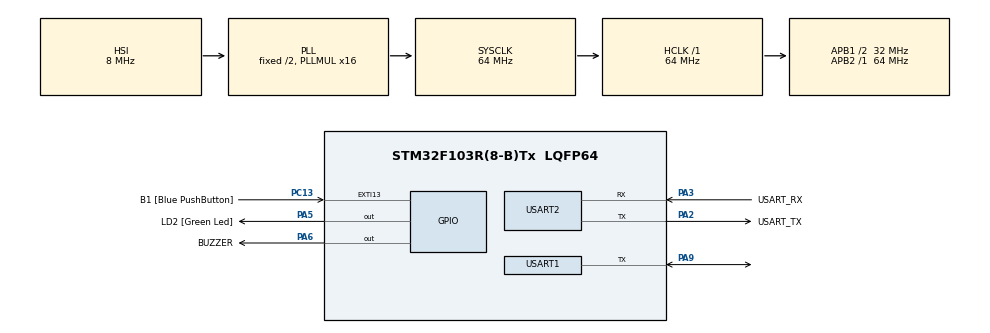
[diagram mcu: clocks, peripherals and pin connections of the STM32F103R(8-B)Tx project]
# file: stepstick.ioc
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FREERTOS.Tasks01=defaultTask,24,128,StartDefaultTask,Default,NULL,Dynamic,NULL,NULL;task_stepper_mo,8,128,start_task_stepper_motors,As external,NULL,Dynamic,NULL,NULL;task_serial_pri,8,128,start_task_serial_print,As external,NULL,Dynamic,NULL,NULL
FREERTOS.configUSE_NEWLIB_REENTRANT=1
Mcu.Family=STM32F1
Mcu.Name=STM32F103R(8-B)Tx
Mcu.Package=LQFP64
NVIC.EXTI15_10_IRQn=true\:5\:0\:false\:false\:true\:true\:true\:true\:true
NVIC.PriorityGroup=NVIC_PRIORITYGROUP_4
NVIC.TIM1_UP_IRQn=true\:15\:0\:false\:false\:true\:false\:false\:true\:true
NVIC.TimeBase=TIM1_UP_IRQn
NVIC.TimeBaseIP=TIM1
PA13.GPIO_Label=TMS
PA13.Mode=Serial_Wire
PA13.Signal=SYS_JTMS-SWDIO
PA14.GPIO_Label=TCK
PA14.Mode=Serial_Wire
PA14.Signal=SYS_JTCK-SWCLK
PA2.GPIO_Label=USART_TX
PA2.GPIO_Mode=GPIO_MODE_AF_PP
PA2.GPIO_PuPd=GPIO_NOPULL
PA2.GPIO_Speed=GPIO_SPEED_FREQ_LOW
PA2.Mode=Asynchronous
PA2.Signal=USART2_TX
PA3.GPIO_Label=USART_RX
PA3.GPIO_Mode=GPIO_MODE_AF_PP
PA3.GPIO_PuPd=GPIO_NOPULL
PA3.GPIO_Speed=GPIO_SPEED_FREQ_LOW
PA3.Mode=Asynchronous
PA3.Signal=USART2_RX
PA5.GPIO_Label=LD2 [Green Led]
PA5.GPIO_ModeDefaultOutputPP=GPIO_MODE_OUTPUT_PP
PA5.GPIO_PuPd=GPIO_NOPULL
PA5.GPIO_Speed=GPIO_SPEED_FREQ_LOW
PA5.Signal=GPIO_Output
PA6.GPIO_Label=BUZZER
PA6.Signal=GPIO_Output
PA9.Mode=Half_duplex(single_wire_mode)
PA9.Signal=USART1_TX
PB3.GPIO_Label=SWO
PB3.Signal=SYS_JTDO-TRACESWO
PC13-TAMPER-RTC.GPIO_Label=B1 [Blue PushButton]
PC13-TAMPER-RTC.GPIO_PuPd=GPIO_NOPULL
PC13-TAMPER-RTC.Signal=GPXTI13
PC14-OSC32_IN.Mode=LSE-External-Oscillator
PC14-OSC32_IN.Signal=RCC_OSC32_IN
PC15-OSC32_OUT.Mode=LSE-External-Oscillator
PC15-OSC32_OUT.Signal=RCC_OSC32_OUT
PD0-OSC_IN.Mode=HSE-External-Clock-Source
PD0-OSC_IN.Signal=RCC_OSC_IN
PD1-OSC_OUT.Mode=HSE-External-Clock-Source
PD1-OSC_OUT.Signal=RCC_OSC_OUT
ProjectManager.HeapSize=0x200
ProjectManager.StackSize=0x400
ProjectManager.TargetToolchain=STM32CubeIDE
RCC.AHBFreq_Value=64000000
RCC.APB1CLKDivider=RCC_HCLK_DIV2
RCC.APB1Freq_Value=32000000
RCC.APB1TimFreq_Value=64000000
RCC.APB2Freq_Value=64000000
RCC.APB2TimFreq_Value=64000000
RCC.HCLKFreq_Value=64000000
RCC.PLLMUL=RCC_PLL_MUL16
RCC.RTCClockSelection=RCC_RTCCLKSOURCE_LSE
RCC.SYSCLKFreq_VALUE=64000000
RCC.SYSCLKSource=RCC_SYSCLKSOURCE_PLLCLK
RCC.USBFreq_Value=64000000
USART1.BaudRate=9600
USART1.VirtualMode=VM_ASYNC
USART2.VirtualMode=VM_ASYNC
VP_FREERTOS_VS_CMSIS_V2.Mode=CMSIS_V2
VP_SYS_VS_tim1.Mode=TIM1
VP_TIM2_VS_ClockSourceINT.Mode=Internal
board=NUCLEO-F103RB

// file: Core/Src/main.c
/* USER CODE BEGIN Header */
/**
  ******************************************************************************
  * @file           : main.c
  * @brief          : Main program body
  ******************************************************************************
  * @attention
  *
  * Copyright (c) 2023 STMicroelectronics.
  * All rights reserved.
  *
  * This software is licensed under terms that can be found in the LICENSE file
  * in the root directory of this software component.
  * If no LICENSE file comes with this software, it is provided AS-IS.
  *
  ******************************************************************************
  */
/* USER CODE END Header */
#include "main.h"
#include "cmsis_os.h"
#include "tim.h"
#include "usart.h"
#include "gpio.h"

/* USER CODE BEGIN PV */
uint8_t triggered = 0;
uint8_t command_triggered = 0;
//uint16_t trigger_counter = 0;

/* USER CODE END PV */

void SystemClock_Config(void);
void MX_FREERTOS_Init(void);
/* USER CODE BEGIN PFP */
int __io_putchar(int ch)
{
    if (ch == '\n') {
        uint8_t ch2 = '\r';
        HAL_UART_Transmit(&huart2, &ch2, 1, HAL_MAX_DELAY);
    }

    HAL_UART_Transmit(&huart2, (uint8_t*)&ch, 1, HAL_MAX_DELAY);
    return 1;
}
/* USER CODE END PFP */

int main(void)
{

  /* MCU Configuration--------------------------------------------------------*/

  /* Reset of all peripherals, Initializes the Flash interface and the Systick. */
  HAL_Init();

  /* Configure the system clock */
  SystemClock_Config();

  /* Initialize all configured peripherals */
  MX_GPIO_Init();
  MX_USART2_UART_Init();
  MX_USART1_UART_Init();
  MX_TIM2_Init();

  /* Init scheduler */
  osKernelInitialize();

  /* Call init function for freertos objects (in freertos.c) */
  MX_FREERTOS_Init();

  /* Start scheduler */
  osKernelStart();

  /* We should never get here as control is now taken by the scheduler */
  /* Infinite loop */
  while (1)
  {

  }
}

void SystemClock_Config(void)
{
  RCC_OscInitTypeDef RCC_OscInitStruct = {0};
  RCC_ClkInitTypeDef RCC_ClkInitStruct = {0};

  /** Initializes the RCC Oscillators according to the specified parameters
  * in the RCC_OscInitTypeDef structure.
  */
  RCC_OscInitStruct.OscillatorType = RCC_OSCILLATORTYPE_HSI;
  RCC_OscInitStruct.HSIState = RCC_HSI_ON;
  RCC_OscInitStruct.HSICalibrationValue = RCC_HSICALIBRATION_DEFAULT;
  RCC_OscInitStruct.PLL.PLLState = RCC_PLL_ON;
  RCC_OscInitStruct.PLL.PLLSource = RCC_PLLSOURCE_HSI_DIV2;
  RCC_OscInitStruct.PLL.PLLMUL = RCC_PLL_MUL16;
  if (HAL_RCC_OscConfig(&RCC_OscInitStruct) != HAL_OK)
  {
    Error_Handler();
  }

  /** Initializes the CPU, AHB and APB buses clocks
  */
  RCC_ClkInitStruct.ClockType = RCC_CLOCKTYPE_HCLK|RCC_CLOCKTYPE_SYSCLK
                              |RCC_CLOCKTYPE_PCLK1|RCC_CLOCKTYPE_PCLK2;
  RCC_ClkInitStruct.SYSCLKSource = RCC_SYSCLKSOURCE_PLLCLK;
  RCC_ClkInitStruct.AHBCLKDivider = RCC_SYSCLK_DIV1;
  RCC_ClkInitStruct.APB1CLKDivider = RCC_HCLK_DIV2;
  RCC_ClkInitStruct.APB2CLKDivider = RCC_HCLK_DIV1;

  if (HAL_RCC_ClockConfig(&RCC_ClkInitStruct, FLASH_LATENCY_2) != HAL_OK)
  {
    Error_Handler();
  }
}

/* USER CODE BEGIN 4 */

void HAL_GPIO_EXTI_Callback(uint16_t GPIO_Pin)
{
	if (GPIO_Pin == B1_Pin && command_triggered == 0)
	{
		HAL_TIM_Base_Start_IT(&htim2);
		command_triggered = 1;
		HAL_GPIO_TogglePin(LD2_GPIO_Port, LD2_Pin);
	}
}

/* USER CODE END 4 */

void HAL_TIM_PeriodElapsedCallback(TIM_HandleTypeDef *htim)
{
  if (htim->Instance == TIM1) {
    HAL_IncTick();
  }
  /* USER CODE BEGIN Callback 1 */
  if (htim == &htim2 && HAL_GPIO_ReadPin(B1_GPIO_Port, B1_Pin) && triggered == 1)
  {
	  HAL_GPIO_TogglePin(LD2_GPIO_Port, LD2_Pin);
	  command_triggered = 1;
//	  trigger_counter++;
	  HAL_TIM_Base_Stop_IT(&htim2);
	  triggered = 0;
  }
  /* USER CODE END Callback 1 */
}

void Error_Handler(void)
{
  __disable_irq();
  while (1)
  {
  }
}

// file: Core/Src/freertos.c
/* USER CODE BEGIN Header */
/**
  ******************************************************************************
  * File Name          : freertos.c
  * Description        : Code for freertos applications
  ******************************************************************************
  * @attention
  *
  * Copyright (c) 2023 STMicroelectronics.
  * All rights reserved.
  *
  * This software is licensed under terms that can be found in the LICENSE file
  * in the root directory of this software component.
  * If no LICENSE file comes with this software, it is provided AS-IS.
  *
  ******************************************************************************
  */
/* USER CODE END Header */

#include "FreeRTOS.h"
#include "task.h"
#include "main.h"
#include "cmsis_os.h"

/* Definitions for defaultTask */
osThreadId_t defaultTaskHandle;
const osThreadAttr_t defaultTask_attributes = {
  .name = "defaultTask",
  .stack_size = 128 * 4,
  .priority = (osPriority_t) osPriorityNormal,
};
/* Definitions for task_stepper_mo */
osThreadId_t task_stepper_moHandle;
const osThreadAttr_t task_stepper_mo_attributes = {
  .name = "task_stepper_mo",
  .stack_size = 128 * 4,
  .priority = (osPriority_t) osPriorityLow,
};
/* Definitions for task_serial_pri */
osThreadId_t task_serial_priHandle;
const osThreadAttr_t task_serial_pri_attributes = {
  .name = "task_serial_pri",
  .stack_size = 128 * 4,
  .priority = (osPriority_t) osPriorityLow,
};

void StartDefaultTask(void *argument);
extern void start_task_stepper_motors(void *argument);
extern void start_task_serial_print(void *argument);

void MX_FREERTOS_Init(void); /* (MISRA C 2004 rule 8.1) */

void MX_FREERTOS_Init(void) {

  /* Create the thread(s) */
  /* creation of defaultTask */
  defaultTaskHandle = osThreadNew(StartDefaultTask, NULL, &defaultTask_attributes);

  /* creation of task_stepper_mo */
  task_stepper_moHandle = osThreadNew(start_task_stepper_motors, NULL, &task_stepper_mo_attributes);

  /* creation of task_serial_pri */
  task_serial_priHandle = osThreadNew(start_task_serial_print, NULL, &task_serial_pri_attributes);

}

void StartDefaultTask(void *argument)
{
  for(;;)
  {
    osDelay(1);
  }
}
